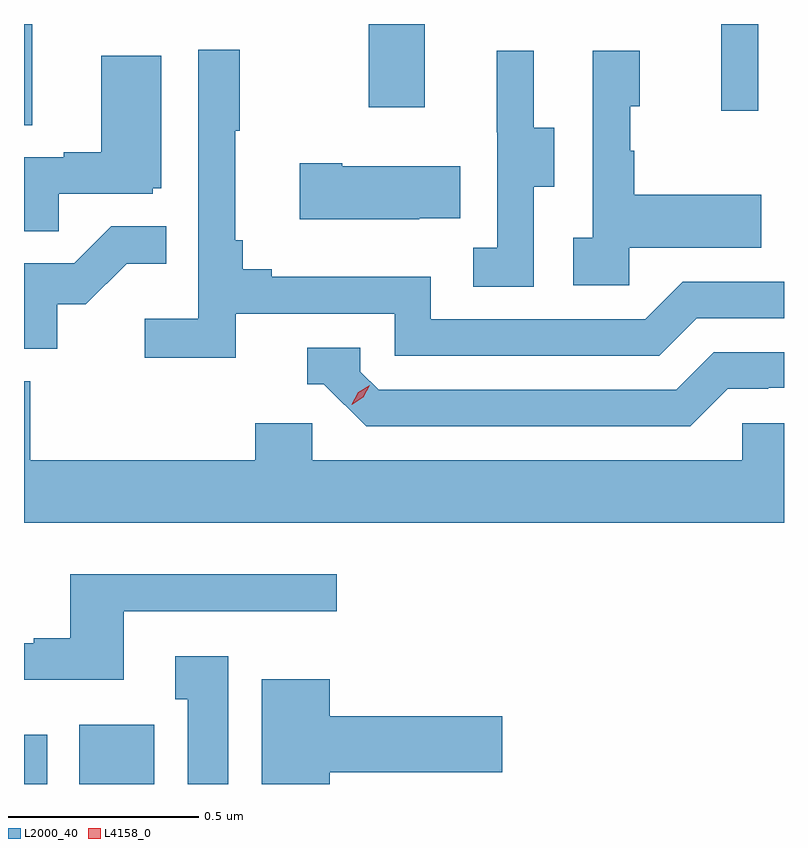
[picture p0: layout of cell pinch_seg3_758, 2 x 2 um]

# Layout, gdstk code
import gdstk
lib = gdstk.Library(unit=1e-6, precision=1e-09)
def R(c, l, rs):  # rectangles x0, y0, x1, y1
    for r in rs: c.add(gdstk.rectangle(r[:2], r[2:], *l))
def P(c, l, *ps):  # polygons
    for p in ps: c.add(gdstk.Polygon(p, *l))
L2000_40 = (2000, 40)
L4158_0 = (4158, 0)

pinch_seg3_758 = lib.new_cell('pinch_seg3_758')
R(pinch_seg3_758, L2000_40, [(876.207,737.524,876.268,737.653), (876.353,737.524,876.55,737.68), (876.207,739.258,876.229,739.524), (878.042,739.296,878.139,739.524), (877.114,739.305,877.261,739.524)])
P(pinch_seg3_758, L2000_40, [(876.764,738.762),(877.182,738.762),(877.182,738.651),(877.879,738.651),(877.978,738.75),(878.207,738.75),(878.207,738.846),(877.941,738.846),(877.842,738.747),(877.278,738.747),(877.278,738.859),(876.859,738.859),(876.859,738.878),(876.782,738.878),(876.782,738.955),(876.763,738.955),(876.763,739.243),(876.775,739.243),(876.775,739.456),(876.666,739.456),(876.666,738.748),(876.525,738.748),(876.525,738.646),(876.764,738.646)],
  [(877.548,739.096),(877.603,739.096),(877.603,739.251),(877.549,739.251),(877.549,739.453),(877.451,739.453),(877.451,739.239),(877.452,739.239),(877.452,738.935),(877.389,738.935),(877.389,738.832),(877.548,738.832)],
  [(877.8,738.935),(878.147,738.935),(878.147,739.075),(877.813,739.075),(877.813,739.19),(877.803,739.19),(877.803,739.308),(877.828,739.308),(877.828,739.453),(877.704,739.453),(877.704,738.962),(877.653,738.962),(877.653,738.837),(877.8,738.837)],
  [(876.299,739.077),(876.546,739.077),(876.546,739.092),(876.568,739.092),(876.568,739.441),(876.41,739.441),(876.41,739.186),(876.311,739.186),(876.311,739.173),(876.207,739.173),(876.207,738.979),(876.299,738.979)],
  [(877.247,739.013),(877.355,739.013),(877.355,739.15),(877.045,739.15),(877.045,739.158),(876.933,739.158),(876.933,739.01),(877.247,739.01)],
  [(876.294,738.786),(876.37,738.786),(876.477,738.893),(876.581,738.893),(876.581,738.992),(876.437,738.992),(876.339,738.894),(876.207,738.894),(876.207,738.669),(876.294,738.669)],
  [(878.059,738.564),(878.166,738.564),(878.166,738.567),(878.207,738.567),(878.207,738.66),(878.022,738.66),(877.923,738.561),(877.14,738.561),(877.092,738.609),(877.092,738.672),(876.953,738.672),(876.953,738.576),(876.996,738.576),(877.107,738.465),(877.96,738.465)],
  [(878.207,738.474),(878.097,738.474),(878.097,738.376),(876.966,738.376),(876.966,738.474),(876.815,738.474),(876.815,738.376),(876.224,738.376),(876.224,738.584),(876.207,738.584),(876.207,738.212),(878.207,738.212)],
  [(876.469,737.979),(877.03,737.979),(877.03,738.076),(876.329,738.076),(876.329,737.908),(876.233,737.908),(876.233,737.895),(876.207,737.895),(876.207,737.798),(876.469,737.798)],
  [(876.745,737.86),(876.605,737.86),(876.605,737.747),(876.638,737.747),(876.638,737.524),(876.745,737.524)],
  [(877.012,737.555),(877.465,737.555),(877.465,737.702),(877.012,737.702),(877.012,737.8),(876.833,737.8),(876.833,737.524),(877.012,737.524)])
P(pinch_seg3_758, L4158_0, [(877.069,738.522),(877.069,738.523),(877.086,738.555),(877.117,738.574),(877.117,738.574),(877.117,738.574),(877.1,738.542),(877.07,738.522)])

lib.write_gds('pinch_seg3_758.gds')
